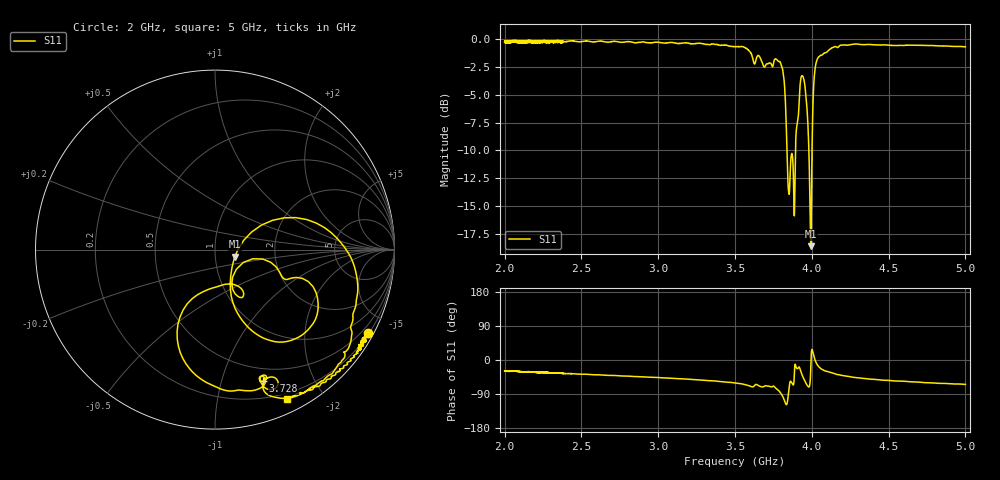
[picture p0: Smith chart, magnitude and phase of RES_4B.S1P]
!Agilent Technologies,E5071C,MY46214220,A.11.31
!Date: Fri Sep 22 10:31:16 2017
!Data & Calibration Information:
!Freq	S11:SOLT1(ON)
!PortZ  Port1:50+j0
!Above PortZ is port z conversion or system Z0 setting when saving the data.
!When reading, reference impedance value at option line is always used.
# Hz S dB R 50
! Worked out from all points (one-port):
!   20000 points, 2 GHz to 5 GHz, reference 50 ohm
!   lowest |S11| = -18.6 dB at 3.993 GHz (marker M1), VSWR 1.27, Z = 62.2 - j4.93 ohm
!   |S11| at or under -10 dB: 3.838 GHz to 3.893 GHz (55.34 MHz wide, 1.43 % of centre); 3.981 GHz to 4.001 GHz (20.52 MHz wide, 0.514 % of centre)
!   S11 on the Smith chart (normalised r, x): 2 GHz: 0.26, -3.90; 3.728 GHz: 0.37, -1.37; 5 GHz: 0.14, -1.58
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2e9  -0.28 -28.6
2.375019e9  -0.21 -35.4
2.750038e9  -0.28 -41.8
3.125056e9  -0.39 -49.1
3.500075e9  -0.68 -60.5
3.611681e9  -1.54 -70.8
3.643932e9  -1.57 -65.4
3.727936e9  -2.16 -69.9
3.761088e9  -1.80 -72.5
3.79649e9  -2.14 -86.8
3.811341e9  -2.81 -96.6
3.825591e9  -4.88 -111.1
3.847342e9  -13.48 -91.8
3.875094e9  -10.67 -63.6
3.892795e9  -10.39 -11.9
3.903145e9  -7.75 -22.6
3.924446e9  -4.01 -25.1
3.939297e9  -3.30 -41.8
3.965998e9  -5.72 -64.3
3.983699e9  -11.49 -70.4
3.99345e9  -18.60 -19.4
4.010701e9  -4.63 14.4
4.022551e9  -2.56 -1.7
4.035902e9  -1.80 -12.5
4.089304e9  -1.23 -29.2
4.250113e9  -0.51 -44.2
4.625131e9  -0.55 -56.9
5e9  -0.69 -64.4
